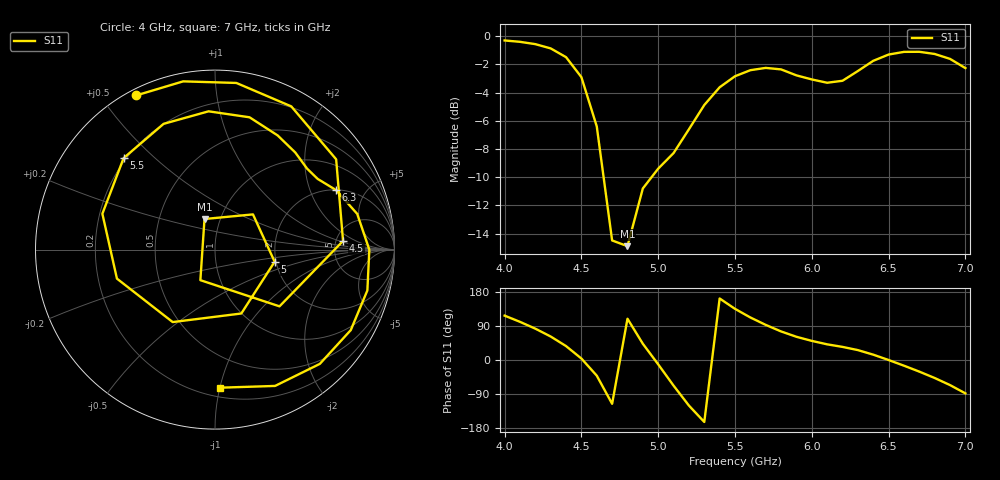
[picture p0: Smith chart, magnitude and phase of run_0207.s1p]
! Touchstone file exported from HFSS 2024.2.0
!  File:  C:/Users/wsak9/Desktop/Sim Fast/Widenad Patch/WP_AI_V1_sweep.aedt
!  Generated:  11:36:56 PM Oct 13, 2026
!  Design:  A1_model
!  Project:  WP_AI_V1_sweep
!  Setup:  Setup1
!  Solution:  Sweep
! Variables:
!  Air_gap = 1.61mm
!  Curve_Amp1 = 2.63
!  Curve_len1 = 1
!  Curve_pos = 11.435mm
!  Extra = 6.07mm
!  H_sub = 0.79mm
!  L_Patch = 18.87mm
!  L_Patch1 = 15.5mm
!  Sx = 3.56mm
!  Sy = 0.62mm
!  WS = 0.79mm
!  W_Patch = 14.4mm
!  W_Patch1 = 9.43mm
!Data is not renormalized
# GHz S MA
! Terminal data exported
! Port[1] = 1
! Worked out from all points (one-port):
!   31 points, 4 GHz to 7 GHz, reference per port
!   lowest |S11| = -14.9 dB at 4.8 GHz (marker M1), VSWR 1.44
!   |S11| at or under -10 dB: 4.645 GHz to 4.957 GHz (312.2 MHz wide, 6.5 % of centre)
!   S11 on the Smith chart (normalised r, x): 4 GHz: 0.02, +0.61; 4.5 GHz: 5.79, +1.14; 5 GHz: 1.96, -0.30; 5.5 GHz: 0.19, +0.40; 6.3 GHz: 2.02, +3.08; 7 GHz: 0.26, -1.00
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4  0.9646 117.1
4.1  0.9539 100.7
4.2  0.9361 82.7
4.3  0.9041 62.0
4.4  0.8419 36.7
4.5  0.715 3.9
4.6  0.4787 -41.3
4.7  0.1888 -115.6
4.8  0.1802 108.9
4.9  0.2886 42.8
5  0.3391 -11.5
5.1  0.385 -67.6
5.2  0.4675 -120.3
5.3  0.5698 -163.5
5.4  0.6585 162.4
5.5  0.7205 135.0
5.6  0.7569 112.2
5.7  0.7712 92.7
5.8  0.7619 75.4
5.9  0.7256 61.2
6.1  0.6832 41.4
6.3  0.7519 26.1
6.5  0.8598 -0.0
6.6  0.8789 -15.0
6.7  0.8794 -30.7
6.8  0.864 -47.5
6.9  0.83 -66.2
7  0.7699 -88.1
